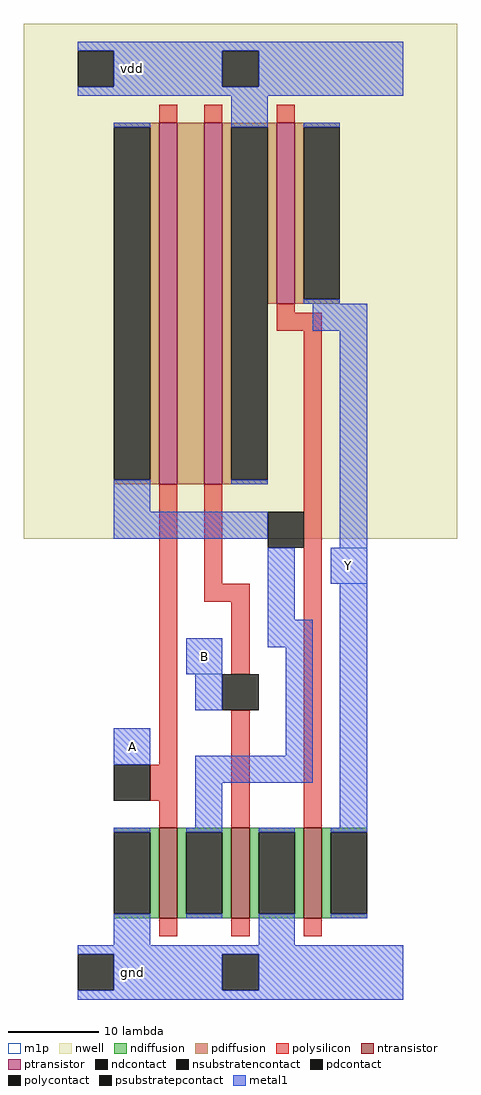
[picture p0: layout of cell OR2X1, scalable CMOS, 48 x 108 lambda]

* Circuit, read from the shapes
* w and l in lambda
.subckt OR2X1 A B Y vdd gnd
M1 n1 A gnd gnd nfet w=10 l=2
M2 gnd B n1 gnd nfet w=10 l=2
M3 Y n1 gnd gnd nfet w=10 l=2
M4 n2 A n1 vdd pfet w=40 l=2
M5 vdd B n2 vdd pfet w=40 l=2
M6 Y n1 vdd vdd pfet w=20 l=2
.ends

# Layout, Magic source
magic
tech scmos
magscale 1 2
<< nwell >>
rect -16 96 80 210
<< ntransistor >>
rect 14 12 18 32
rect 30 12 34 32
rect 46 12 50 32
<< ptransistor >>
rect 14 108 18 188
rect 24 108 28 188
rect 40 148 44 188
<< ndiffusion >>
rect 4 31 14 32
rect 12 13 14 31
rect 4 12 14 13
rect 18 31 30 32
rect 18 13 20 31
rect 28 13 30 31
rect 18 12 30 13
rect 34 31 46 32
rect 34 13 36 31
rect 44 13 46 31
rect 34 12 46 13
rect 50 31 60 32
rect 50 13 52 31
rect 50 12 60 13
<< pdiffusion >>
rect 4 187 14 188
rect 12 109 14 187
rect 4 108 14 109
rect 18 108 24 188
rect 28 187 40 188
rect 28 109 30 187
rect 38 148 40 187
rect 44 187 54 188
rect 44 149 46 187
rect 44 148 54 149
rect 28 108 38 109
<< ndcontact >>
rect 4 13 12 31
rect 20 13 28 31
rect 36 13 44 31
rect 52 13 60 31
<< pdcontact >>
rect 4 109 12 187
rect 30 109 38 187
rect 46 149 54 187
<< psubstratepcontact >>
rect -4 -4 4 4
rect 28 -4 36 4
<< nsubstratencontact >>
rect -4 196 4 204
rect 28 196 36 204
<< polysilicon >>
rect 14 188 18 192
rect 24 188 28 192
rect 40 188 44 192
rect 40 146 44 148
rect 40 142 50 146
rect 14 46 18 108
rect 24 86 28 108
rect 24 82 34 86
rect 30 66 34 82
rect 12 38 18 46
rect 14 32 18 38
rect 30 32 34 58
rect 46 32 50 142
rect 14 8 18 12
rect 30 8 34 12
rect 46 8 50 12
<< polycontact >>
rect 38 94 46 102
rect 28 58 36 66
rect 4 38 12 46
<< metal1 >>
rect -4 204 68 206
rect 4 196 28 204
rect 36 196 68 204
rect -4 194 68 196
rect 4 187 12 188
rect 4 102 12 109
rect 30 187 38 194
rect 46 187 54 188
rect 46 148 54 149
rect 48 142 60 148
rect 30 108 38 109
rect 4 96 38 102
rect 54 94 60 142
rect 38 78 44 94
rect 52 86 60 94
rect 20 66 28 74
rect 38 72 48 78
rect 22 58 28 66
rect 4 46 12 54
rect 42 48 48 72
rect 22 42 48 48
rect 22 32 28 42
rect 54 32 60 86
rect 4 31 12 32
rect 4 6 12 13
rect 20 31 28 32
rect 20 12 28 13
rect 36 31 44 32
rect 36 6 44 13
rect 52 31 60 32
rect 52 12 60 13
rect -4 4 68 6
rect 4 -4 28 4
rect 36 -4 68 4
rect -4 -6 68 -4
<< m1p >>
rect 52 86 60 94
rect 20 66 28 74
rect 4 46 12 54
<< labels >>
rlabel metal1 56 90 56 90 4 Y
port 3 se
rlabel metal1 24 70 24 70 4 B
port 2 se
rlabel metal1 8 200 8 200 4 vdd
port 4 se
rlabel metal1 8 0 8 0 4 gnd
port 5 se
rlabel metal1 8 50 8 50 4 A
port 1 se
<< end >>
